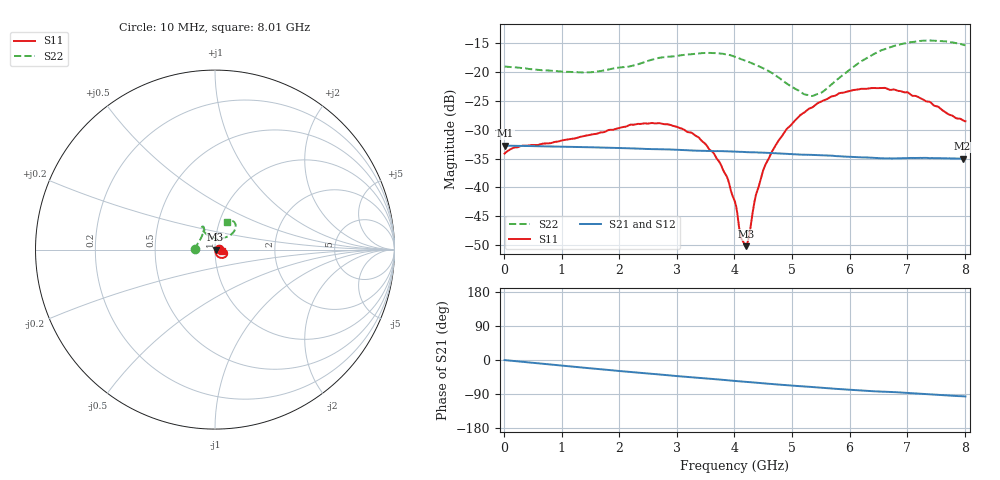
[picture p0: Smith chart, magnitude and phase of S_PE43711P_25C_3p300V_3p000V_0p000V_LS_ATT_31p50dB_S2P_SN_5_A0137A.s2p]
! Device ID: PE43711P
! File Path: z:\PE43711P\CHAR_NOM_04282014\AMB\3p300\LS_ATT_31p50dB\PE43711P_AMB_3p300V_3p000V_0p000V_LS_ATT_31p50dB_S2P_SN_5_A0137A.s2p
! Serial: 5
! Lot: A0137A
! Temp: 25C
! VDD: 3.300
! VSS: 0.000
! Control_Hi: 3.000
! Control_Lo: 0.000
! Attenuation Step: 31.50dB
! Port 1: RF1
! Port 2: RF2
! ThroughPath:1-2
! IDD: 0.0001282716
! ISS: -1.345e-007
#  Hz  S  RI  R  50
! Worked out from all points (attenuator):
!   801 points, 10 MHz to 8.01 GHz, reference 50 ohm
!   highest |S21| = -32.78 dB at 20 MHz (marker M1); lowest = -35.0 dB at 7.96 GHz (marker M2)
!   lowest |S11| = -50.2 dB at 4.2 GHz (marker M3), VSWR 1.01, Z = 50.3 - j0.124 ohm
!   |S11| at or under -10 dB: start of sweep to end of sweep
!   |S22| runs from -24.2 to -14.5 dB; largest |S21 - S12| = 9e-05
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1e7  0.0196 0.000562  0.0229 -8.57e-05  0.023 -8.84e-05  -0.112 0.000898
2e7  0.0199 0.000751  0.023 -0.000121  0.023 -0.000134  -0.1117 0.00147
3.1e8  0.0227 0.00313  0.0228 -0.00192  0.0228 -0.00193  -0.1078 0.0109
1.35e9  0.0266 0.00716  0.0211 -0.00757  0.0211 -0.00759  -0.0851 0.051
2.68e9  0.032 0.0167  0.0169 -0.0132  0.0169 -0.0132  -0.0614 0.1174
3.1e9  0.0261 0.0187  0.0153 -0.0146  0.0152 -0.0146  -0.0631 0.1253
3.49e9  0.0172 0.0166  0.0138 -0.0155  0.0138 -0.0155  -0.0684 0.1291
3.76e9  0.0102 0.0122  0.0127 -0.0162  0.0128 -0.0162  -0.0729 0.1251
3.88e9  0.00753 0.00935  0.0122 -0.0165  0.0122 -0.0165  -0.0738 0.1207
4.01e9  0.00521 0.00538  0.0117 -0.0168  0.0116 -0.0168  -0.0734 0.1143
4.12e9  0.00342 0.00115  0.0112 -0.017  0.0112 -0.017  -0.0704 0.1083
4.2e9  0.00284 -0.00124  0.0108 -0.0171  0.0108 -0.0171  -0.0676 0.1048
4.25e9  0.00224 -0.003  0.0106 -0.0172  0.0106 -0.0172  -0.0656 0.1029
4.38e9  0.00172 -0.00867  0.0101 -0.0174  0.0101 -0.0174  -0.0605 0.0977
4.55e9  0.00277 -0.0159  0.00933 -0.0176  0.00932 -0.0176  -0.0529 0.0904
4.9e9  0.00876 -0.0305  0.00782 -0.0179  0.00783 -0.0179  -0.0306 0.074
5.35e9  0.0243 -0.043  0.00611 -0.0181  0.00612 -0.0182  0.0092 0.0613
5.84e9  0.0473 -0.0459  0.00419 -0.0181  0.00421 -0.0181  0.0597 0.0683
6.68e9  0.0673 -0.0215  0.00182 -0.0178  0.00182 -0.0178  0.1129 0.1174
7.3e9  0.0566 -0.00434  8.91e-05 -0.018  4.01e-05 -0.018  0.1069 0.1538
7.96e9  0.0381 -0.00491  -0.00177 -0.0177  -0.00177 -0.0177  0.0714 0.1579
8.01e9  0.0368 -0.00649  -0.0019 -0.0177  -0.00188 -0.0177  0.0689 0.156
